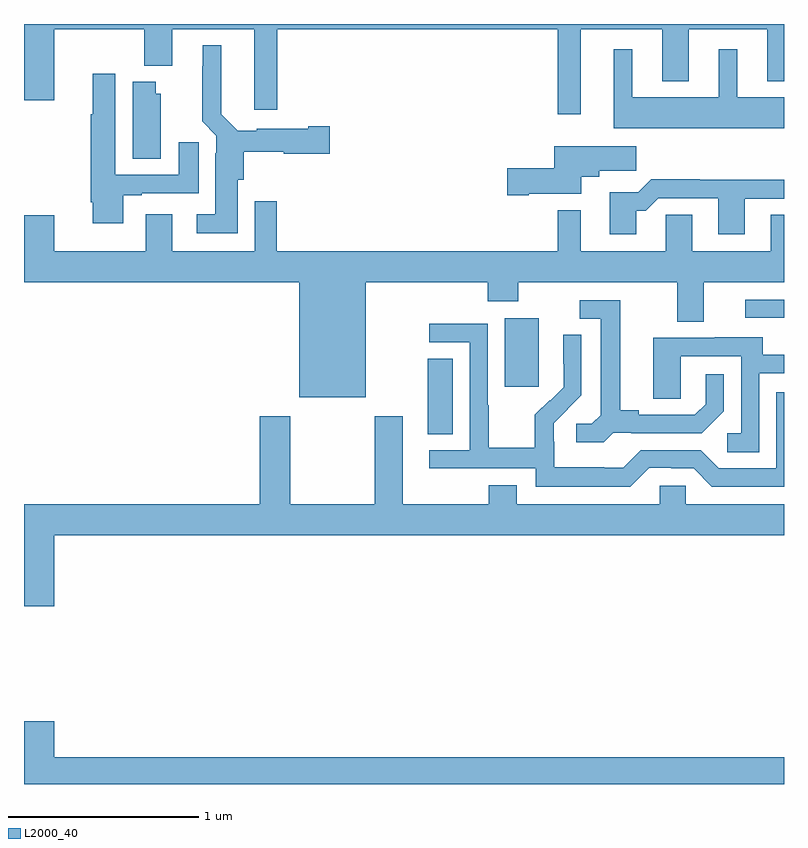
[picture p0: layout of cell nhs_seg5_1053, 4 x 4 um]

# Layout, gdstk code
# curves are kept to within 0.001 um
import gdstk
lib = gdstk.Library(unit=1e-6, precision=1e-09)
def R(c, l, rs):  # rectangles x0, y0, x1, y1
    for r in rs: c.add(gdstk.rectangle(r[:2], r[2:], *l))
def P(c, l, *ps):  # polygons
    for p in ps: c.add(gdstk.Polygon(p, *l))
L2000_40 = (2000, 40)

nhs_seg5_1053 = lib.new_cell('nhs_seg5_1053')
R(nhs_seg5_1053, L2000_40, [(179.126,842.641,179.257,843.038), (179.531,842.889,179.71,843.25), (180.795,843.252,181,843.348)])
P(nhs_seg5_1053, L2000_40, [(179.929,844.772),(180.359,844.772),(180.359,844.499),(180.499,844.499),(180.499,844.772),(180.911,844.772),(180.911,844.499),(181,844.499),(181,844.799),(177,844.799),(177,844.398),(177.16,844.398),(177.16,844.772),(177.634,844.772),(177.634,844.58),(177.781,844.58),(177.781,844.772),(178.211,844.772),(178.211,844.347),(178.334,844.347),(178.334,844.772),(179.808,844.772),(179.808,844.323),(179.929,844.323)],
  [(178.126,843.978),(178.157,843.978),(178.157,844.127),(178.368,844.127),(178.368,844.115),(178.609,844.115),(178.609,844.262),(178.496,844.262),(178.496,844.249),(178.224,844.249),(178.224,844.237),(178.125,844.237),(178.039,844.324),(178.039,844.687),(177.941,844.687),(177.941,844.577),(177.937,844.577),(177.937,844.286),(178.011,844.212),(178.011,844.118),(178.007,844.118),(178.007,843.799),(177.909,843.799),(177.909,843.698),(178.126,843.698)],
  [(181,844.414),(180.754,844.414),(180.754,844.666),(180.656,844.666),(180.656,844.414),(180.202,844.414),(180.202,844.666),(180.104,844.666),(180.104,844.25),(181,844.25)],
  [(177.523,843.897),(177.619,843.897),(177.619,843.909),(177.919,843.909),(177.919,844.177),(177.815,844.177),(177.815,844.005),(177.481,844.005),(177.481,844.537),(177.362,844.537),(177.362,844.324),(177.35,844.324),(177.35,843.862),(177.362,843.862),(177.362,843.75),(177.523,843.75)],
  [(177.721,844.431),(177.694,844.431),(177.694,844.495),(177.572,844.495),(177.572,844.09),(177.721,844.09)],
  [(179.656,843.905),(179.932,843.905),(179.932,843.995),(180.028,843.995),(180.028,844.027),(180.223,844.027),(180.223,844.156),(179.792,844.156),(179.792,844.04),(179.544,844.04),(179.544,843.898),(179.656,843.898)],
  [(180.223,843.815),(180.272,843.815),(180.339,843.882),(180.653,843.882),(180.653,843.693),(180.793,843.693),(180.793,843.879),(181,843.879),(181,843.98),(180.557,843.98),(180.557,843.983),(180.302,843.983),(180.232,843.913),(180.083,843.913),(180.083,843.693),(180.223,843.693)],
  [(178.331,843.865),(178.215,843.865),(178.215,843.604),(177.781,843.604),(177.781,843.799),(177.641,843.799),(177.641,843.604),(177.16,843.604),(177.16,843.793),(177,843.793),(177,843.44),(178.448,843.44),(178.448,842.834),(178.798,842.834),(178.798,843.44),(179.441,843.44),(179.441,843.341),(179.601,843.341),(179.601,843.44),(180.437,843.44),(180.437,843.232),(180.577,843.232),(180.577,843.44),(181,843.44),(181,843.794),(180.929,843.794),(180.929,843.604),(180.517,843.604),(180.517,843.794),(180.378,843.794),(180.378,843.604),(179.929,843.604),(179.929,843.82),(179.808,843.82),(179.808,843.604),(178.331,843.604)],
  [(180.102,842.649),(180.196,842.649),(180.196,842.646),(180.568,842.646),(180.684,842.762),(180.684,842.956),(180.587,842.956),(180.587,842.799),(180.53,842.742),(180.235,842.742),(180.235,842.765),(180.139,842.765),(180.139,843.345),(179.925,843.345),(179.925,843.249),(180.035,843.249),(180.035,842.741),(179.988,842.694),(179.907,842.694),(179.907,842.597),(180.05,842.597)],
  [(180.291,842.463),(180.407,842.463),(180.407,842.46),(180.525,842.46),(180.621,842.364),(181,842.364),(181,842.862),(180.96,842.862),(180.96,842.46),(180.657,842.46),(180.561,842.556),(180.246,842.556),(180.153,842.463),(180.053,842.463),(180.053,842.467),(179.79,842.467),(179.79,842.601),(179.788,842.601),(179.788,842.698),(179.934,842.846),(179.934,843.164),(179.838,843.164),(179.838,843.01),(179.84,843.01),(179.84,842.888),(179.769,842.817),(179.766,842.82),(179.689,842.743),(179.689,842.569),(179.445,842.569),(179.445,842.792),(179.442,842.792),(179.442,843.222),(179.133,843.222),(179.133,843.123),(179.346,843.123),(179.346,842.556),(179.133,842.556),(179.133,842.46),(179.694,842.46),(179.694,842.363),(180.191,842.363)],
  [(180.87,842.961),(181,842.961),(181,843.057),(180.889,843.057),(180.889,843.151),(180.635,843.151),(180.635,843.147),(180.311,843.147),(180.311,842.827),(180.456,842.827),(180.456,843.051),(180.774,843.051),(180.774,842.646),(180.702,842.646),(180.702,842.545),(180.87,842.545)],
  [(177.16,842.108),(181,842.108),(181,842.272),(180.483,842.272),(180.483,842.37),(180.345,842.37),(180.345,842.272),(179.593,842.272),(179.593,842.371),(179.446,842.371),(179.446,842.272),(178.993,842.272),(178.993,842.734),(178.846,842.734),(178.846,842.272),(178.401,842.272),(178.401,842.734),(178.241,842.734),(178.241,842.272),(177,842.272),(177,841.734),(177.16,841.734)],
  [(181,840.94),(177.16,840.94),(177.16,841.129),(177,841.129),(177,840.799),(181,840.799)])

lib.write_gds('nhs_seg5_1053.gds')
